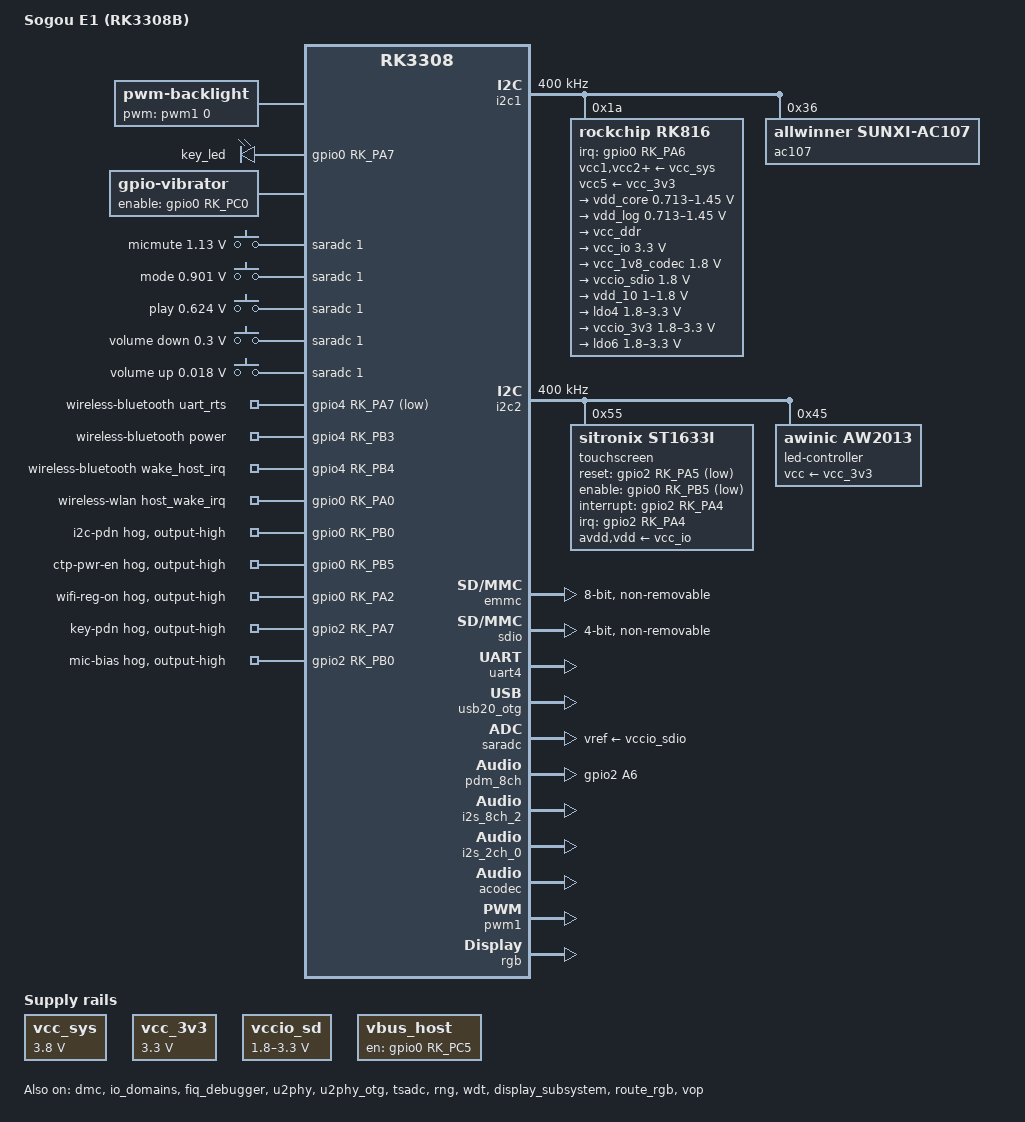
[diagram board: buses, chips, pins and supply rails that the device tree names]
// SPDX-License-Identifier: (GPL-2.0+ OR MIT)

#include <dt-bindings/gpio/gpio.h>
#include <dt-bindings/input/input.h>
#include <dt-bindings/interrupt-controller/irq.h>
#include <dt-bindings/pinctrl/rockchip.h>

#include "rk3308.dtsi"

/ {
	model = "Sogou E1 (RK3308B)";
	compatible = "sogou,e1-rk3308b", "rockchip,rk3308";

	vcc_sys: vcc-sys {
		compatible = "regulator-fixed";
		regulator-name = "vcc_sys";
		regulator-min-microvolt = <3800000>;
		regulator-max-microvolt = <3800000>;
		regulator-always-on;
		regulator-boot-on;
	};

	vcc_3v3: vcc-3v3 {
		compatible = "regulator-fixed";
		regulator-name = "vcc_3v3";
		regulator-min-microvolt = <3300000>;
		regulator-max-microvolt = <3300000>;
		regulator-always-on;
		regulator-boot-on;
	};

	backlight: backlight {
		compatible = "pwm-backlight";
		pwms = <&pwm1 0 25000 0>;
		brightness-levels = <0 16 32 48 64 80 96 112 128 144 160 176 192 208 224 240 255>;
		default-brightness-level = <16>;
		status = "okay";
	};

	vccio_sd: vccio-sd {
		compatible = "regulator-gpio";
		regulator-name = "vccio_sd";
		regulator-min-microvolt = <1800000>;
		regulator-max-microvolt = <3300000>;
		gpios = <&gpio0 RK_PB7 GPIO_ACTIVE_HIGH>;
		states = <1800000 0x0 3300000 0x1>;
	};

	vbus_host: vbus-host-regulator {
		compatible = "regulator-fixed";
		enable-active-high;
		gpio = <&gpio0 RK_PC5 GPIO_ACTIVE_HIGH>;
		pinctrl-names = "default";
		pinctrl-0 = <&usb_drv>;
		regulator-name = "vbus_host";
	};

	leds {
		compatible = "gpio-leds";

		key_led {
			label = "key_led";
			gpios = <&gpio0 RK_PA7 GPIO_ACTIVE_HIGH>;
			default-state = "off";
		};
	};

	vibrator {
		compatible = "gpio-vibrator";
		enable-gpios = <&gpio0 RK_PC0 GPIO_ACTIVE_HIGH>;
	};

	adc-keys {
		compatible = "adc-keys";
		io-channels = <&saradc 1>;
		io-channel-names = "buttons";
		poll-interval = <50>;
		keyup-threshold-microvolt = <1800000>;

		esc-key {
			linux,code = <KEY_MICMUTE>;
			label = "micmute";
			press-threshold-microvolt = <1130000>;
		};

		home-key {
			linux,code = <KEY_MODE>;
			label = "mode";
			press-threshold-microvolt = <901000>;
		};

		menu-key {
			linux,code = <KEY_PLAY>;
			label = "play";
			press-threshold-microvolt = <624000>;
		};

		vol-down-key {
			linux,code = <KEY_VOLUMEDOWN>;
			label = "volume down";
			press-threshold-microvolt = <300000>;
		};

		vol-up-key {
			linux,code = <KEY_VOLUMEUP>;
			label = "volume up";
			press-threshold-microvolt = <18000>;
		};
	};

	dummy_codec: dummy-codec {
		compatible = "rockchip,dummy-codec";
		#sound-dai-cells = <0>;
	};

	dummy_pdm_codec: dummy-pdm-codec {
		compatible = "rockchip,dummy-codec";
		#sound-dai-cells = <0>;
	};

	pdm-mic-array {
		status = "okay";
		compatible = "simple-audio-card";
		simple-audio-card,name = "rockchip,pdm-mic-array";

		simple-audio-card,cpu {
			sound-dai = <&pdm_8ch>;
		};

		simple-audio-card,codec {
			sound-dai = <&dummy_pdm_codec>;
		};
	};

	acodec-sound {
		status = "okay";
		compatible = "rockchip,multicodecs-card";
		rockchip,card-name = "rockchip,rk3308-acodec";
		rockchip,codec-hp-det;
		rockchip,mclk-fs = <256>;
		rockchip,cpu = <&i2s_8ch_2>;
		rockchip,codec = <&acodec>;
	};

	bluetooth-sound {
		status = "okay";
		compatible = "rockchip,multicodecs-card";
		rockchip,card-name = "rockchip,rk3308-pcm";
		rockchip,mclk-fs = <128>;
		rockchip,cpu = <&i2s_2ch_0>;
		rockchip,codec = <&dummy_codec>;
		rockchip,format = "dsp_b";
		rockchip,bitclock-inversion = <0>;
		rockchip,wait-card-locked = <0>;
	};

	wireless-bluetooth {
		compatible = "bluetooth-platdata";
		uart_rts_gpios = <&gpio4 RK_PA7 GPIO_ACTIVE_LOW>;
		pinctrl-names = "default", "rts_gpio";
		pinctrl-0 = <&uart4_rts>;
		pinctrl-1 = <&uart4_rts_pin>;
		BT,power_gpio = <&gpio4 RK_PB3 GPIO_ACTIVE_HIGH>;
		BT,wake_host_irq = <&gpio4 RK_PB4 GPIO_ACTIVE_HIGH>;
		clocks = <&cru SCLK_RTC32K>;
		clock-names = "ext_clock";
		status = "okay";
	};

	wireless-wlan {
		compatible = "wlan-platdata";
		rockchip,grf = <&grf>;
		pinctrl-names = "default";
		pinctrl-0 = <&wifi_wake_host>, <&wifi_enable_h>;
		wifi_chip_type = "rtl8723ds";
		WIFI,host_wake_irq = <&gpio0 RK_PA0 GPIO_ACTIVE_HIGH>;
		status = "okay";
	};
};

&i2c1 {
	status = "okay";
	clock-frequency = <400000>;

	rk816: pmic@1a {
		compatible = "rockchip,rk816";
		reg = <0x1a>;
		interrupt-parent = <&gpio0>;
		interrupts = <RK_PA6 IRQ_TYPE_LEVEL_LOW>;
		pinctrl-names = "default";
		pinctrl-0 = <&pmic_int_l>;
		rockchip,system-power-controller;
		wakeup-source;
		gpio-controller;
		#gpio-cells = <2>;
		#clock-cells = <1>;
		clock-output-names = "rk816-clkout1", "rk816-clkout2";

		extcon = <&u2phy>;
		vcc1-supply = <&vcc_sys>;
		vcc2-supply = <&vcc_sys>;
		vcc3-supply = <&vcc_sys>;
		vcc4-supply = <&vcc_sys>;
		vcc5-supply = <&vcc_3v3>;
		vcc6-supply = <&vcc_sys>;

		pwrkey {
			status = "okay";
		};

		rtc {
			status = "okay";
		};

		battery {
			compatible = "rk816-battery";
			ocv_table = <3547 3606 3646 3679 3701 3714 3725 3741
				     3759 3782 3802 3810 3844 3885 3924 3979
				     4025 4078 4134 4193 4305>;
			design_capacity = <2100>;
			design_qmax = <2310>;
			bat_res = <110>;
			max_input_current = <2000>;
			max_chrg_current = <1800>;
			max_chrg_voltage = <4350>;
			sleep_enter_current = <300>;
			sleep_exit_current = <300>;
			sleep_filter_current = <100>;
			power_off_thresd = <3500>;
			zero_algorithm_vol = <3850>;
			max_soc_offset = <80>;
			monitor_sec = <5>;
			sample_res = <10>;
			virtual_power = <0>;
			power_dc2otg = <0>;
			dc_det_adc = <0>;
		};

		regulators {
			vdd_core: DCDC_REG1 {
				regulator-name = "vdd_core";
				regulator-min-microvolt = <712500>;
				regulator-max-microvolt = <1450000>;
				regulator-ramp-delay = <6001>;
				regulator-initial-mode = <2>;
				regulator-always-on;
				regulator-boot-on;

				regulator-state-mem {
					regulator-off-in-suspend;
				};
			};

			vdd_log: DCDC_REG2 {
				regulator-name = "vdd_logic";
				regulator-min-microvolt = <712500>;
				regulator-max-microvolt = <1450000>;
				regulator-ramp-delay = <6001>;
				regulator-initial-mode = <2>;
				regulator-always-on;
				regulator-boot-on;

				regulator-state-mem {
					regulator-on-in-suspend;
					regulator-suspend-microvolt = <1000000>;
				};
			};

			vcc_ddr: DCDC_REG3 {
				regulator-name = "vcc_ddr";
				regulator-initial-mode = <2>;
				regulator-always-on;
				regulator-boot-on;
			};

			vcc_io: DCDC_REG4 {
				regulator-name = "vcc_io";
				regulator-min-microvolt = <3300000>;
				regulator-max-microvolt = <3300000>;
				regulator-initial-mode = <1>;
				regulator-always-on;
				regulator-boot-on;

				regulator-state-mem {
					regulator-on-in-suspend;
					regulator-suspend-microvolt = <3000000>;
				};
			};

			vcc_1v8_codec: LDO_REG1 {
				regulator-name = "vcc_1v8_codec";
				regulator-min-microvolt = <1800000>;
				regulator-max-microvolt = <1800000>;
				regulator-always-on;
				regulator-boot-on;

				regulator-state-mem {
					regulator-on-in-suspend;
					regulator-suspend-microvolt = <1800000>;
				};
			};

			vccio_sdio: LDO_REG2 {
				regulator-name = "vcc_1v8";
				regulator-min-microvolt = <1800000>;
				regulator-max-microvolt = <1800000>;
				regulator-always-on;
				regulator-boot-on;

				regulator-state-mem {
					regulator-on-in-suspend;
					regulator-suspend-microvolt = <1800000>;
				};
			};

			vdd_10: LDO_REG3 {
				regulator-name = "vdd_10";
				regulator-min-microvolt = <1000000>;
				regulator-max-microvolt = <1800000>;
				regulator-always-on;
				regulator-boot-on;

				regulator-state-mem {
					regulator-off-in-suspend;
				};
			};

			ldo4: LDO_REG4 {
				regulator-name = "ldo4";
				regulator-min-microvolt = <1800000>;
				regulator-max-microvolt = <3300000>;

				regulator-state-mem {
					regulator-off-in-suspend;
				};
			};

			vccio_3v3: LDO_REG5 {
				regulator-name = "vccio_3v3";
				regulator-min-microvolt = <1800000>;
				regulator-max-microvolt = <3300000>;
				regulator-always-on;

				regulator-state-mem {
					regulator-off-in-suspend;
				};
			};

			ldo6: LDO_REG6 {
				regulator-name = "ldo6";
				regulator-min-microvolt = <1800000>;
				regulator-max-microvolt = <3300000>;

				regulator-state-mem {
					regulator-off-in-suspend;
				};
			};
		};
	};

	ac107: ac107@36 {
		compatible = "allwinner,sunxi-ac107";
		reg = <0x36>;
		#sound-dai-cells = <0>;
		ch1-pga-gain = <26>;
		ch2-pga-gain = <26>;
		status = "okay";
	};
};

&i2c2 {
	status = "okay";
	clock-frequency = <400000>;

	touchscreen@55 {
		compatible = "sitronix,st1633i", "sitronix,st1633";
		reg = <0x55>;

		interrupt-parent = <&gpio2>;
		interrupts = <RK_PA4 IRQ_TYPE_EDGE_FALLING>;

		pinctrl-names = "default", "enable", "disable";
		pinctrl-0 = <&ctp_irq>;
		pinctrl-1 = <&ctp_power_enable>;
		pinctrl-2 = <&ctp_power_disable>;

		avdd-supply = <&vcc_io>;
		vdd-supply = <&vcc_io>;

		reset-gpios = <&gpio2 RK_PA5 GPIO_ACTIVE_LOW>;
		touchscreen-size-x = <320>;
		touchscreen-size-y = <320>;

		sitronix,enable-gpio = <&gpio0 RK_PB5 GPIO_ACTIVE_LOW>;
		sitronix,reset-gpio = <&gpio2 RK_PA5 GPIO_ACTIVE_LOW>;
		sitronix,interrupt-gpios = <&gpio2 RK_PA4 IRQ_TYPE_EDGE_FALLING>;
		sitronix,num-fingers = <2>;
		sitronix,wakeup;
		sitronix,palm-detect-en;
		sitronix,palm-detect-keycode = <0x8e>;
		sitronix,panel-coords = <0 0 320 320>;
		sitronix,display-coords = <0 0 320 320>;
		sitronix,product-id = "1633";
		sitronix,enable-power-off;
		sitronix,cfg-data0;
		sitronix,driver-send-cfg;

		wakeup-source;
		status = "okay";
	};

	led-controller@45 {
		compatible = "awinic,aw2013";
		reg = <0x45>;
		#address-cells = <1>;
		#size-cells = <0>;
		vcc-supply = <&vcc_3v3>;
		status = "okay";

		led@0 {
			reg = <0>;
			label = "red";
			led-max-microamp = <15000>;
		};

		led@1 {
			reg = <1>;
			label = "green";
			led-max-microamp = <15000>;
		};

		led@2 {
			reg = <2>;
			label = "blue";
			led-max-microamp = <15000>;
		};
	};
};

&cpu0 {
	cpu-supply = <&vdd_core>;
};

&cpu0_opp_table {
	opp-1200000000 {
		status = "okay";
	};

	opp-1296000000 {
		status = "okay";
	};
};

&rk3308bs_cpu0_opp_table {
	opp-1008000000 {
		status = "okay";
	};

	opp-1104000000 {
		status = "okay";
	};
};

&dmc {
	center-supply = <&vdd_log>;
	status = "okay";
};

&io_domains {
	status = "okay";

	vccio0-supply = <&vcc_io>;
	vccio1-supply = <&vcc_io>;
	vccio2-supply = <&vcc_io>;
	vccio3-supply = <&vccio_sdio>;
	vccio4-supply = <&vccio_sdio>;
	vccio5-supply = <&vccio_sd>;
};

&emmc {
	bus-width = <8>;
	cap-mmc-highspeed;
	mmc-hs200-1_8v;
	no-sdio;
	no-sd;
	disable-wp;
	non-removable;
	num-slots = <1>;
	vqmmc-supply = <&vccio_sdio>;
	pinctrl-names = "default";
	pinctrl-0 = <&emmc_bus8 &emmc_clk &emmc_cmd>;
	status = "okay";
};

&sdio {

	max-frequency = <50000000>;
	bus-width = <4>;
	cap-sd-highspeed;
	cap-sdio-irq;
	supports-sdio;
	ignore-pm-notify;
	non-removable;
	keep-power-in-suspend;
	sd-uhs-sdr104;
	status = "okay";
};

&uart4 {
	pinctrl-names = "default";
	pinctrl-0 = <&uart4_xfer &uart4_cts>;
	status = "okay";
};

&fiq_debugger {
	status = "okay";
};

&u2phy {
	status = "okay";
};

&u2phy_host {
	phy-supply = <&vbus_host>;
	status = "disabled";
};

&u2phy_otg {
	status = "okay";
};

&usb20_otg {
	status = "okay";
};

&usb_host0_ehci {
	status = "disabled";
};

&usb_host0_ohci {
	status = "disabled";
};

&saradc {
	status = "okay";
	vref-supply = <&vccio_sdio>;
};

&pdm_8ch {
	status = "okay";
	#sound-dai-cells = <0>;
	pinctrl-names = "default";
	pinctrl-0 = <&pdm_m2_clk_8ma &pdm_m2_sdi0 &pdm_m2_sdi1
		     &pdm_m2_sdi2 &pdm_m2_sdi3>;
};

&i2s_8ch_2 {
	status = "okay";
	#sound-dai-cells = <0>;
};

&i2s_2ch_0 {
	status = "okay";
	#sound-dai-cells = <0>;
};

&acodec {
	status = "okay";

	rockchip,loopback-grp = <0>;
	rockchip,hp-jack-reversed;
	hp-ctl-gpios = <&gpio0 RK_PA1 GPIO_ACTIVE_HIGH>;
	spk-ctl-gpios = <&gpio0 RK_PA5 GPIO_ACTIVE_HIGH>;
};

&vad {
	status = "disabled";
	rockchip,audio-src = <&pdm_8ch>;
	rockchip,det-channel = <0>;
	rockchip,mode = <1>;
	rockchip,buffer-time-ms = <200>;
	#sound-dai-cells = <0>;
};

&tsadc {
	rockchip,hw-tshut-mode = <0>;
	rockchip,hw-tshut-polarity = <1>;
	status = "okay";
};

&rng {
	status = "okay";
};

&wdt {
	status = "okay";
};

&pinctrl {
	pmic {
		pmic_int_l: pmic-int-l {
			rockchip,pins = <0 RK_PA6 RK_FUNC_GPIO &pcfg_pull_up>;
		};
	};

	wireless-wlan {
		wifi_wake_host: wifi-wake-host {
			rockchip,pins = <0 RK_PA0 RK_FUNC_GPIO &pcfg_pull_up>;
		};
	};

	sdio-pwrseq {
		wifi_enable_h: wifi-enable-h {
			rockchip,pins = <0 RK_PA2 RK_FUNC_GPIO &pcfg_pull_none>;
		};
	};

	usb {
		usb_drv: usb-drv {
			rockchip,pins = <0 RK_PC5 RK_FUNC_GPIO &pcfg_pull_none>;
		};
	};

	pdm_m2 {
		pdm_m2_clk_8ma: pdm-m2-clk-8ma {
			rockchip,pins = <2 RK_PA6 2 &pcfg_pull_none_8ma>;
		};
	};

	ctp {
		ctp_power_enable: ctp-power-enable {
			rockchip,pins = <0 RK_PB5 RK_FUNC_GPIO &pcfg_pull_up_8ma>;
		};

		ctp_power_disable: ctp-power-disable {
			rockchip,pins = <0 RK_PB5 RK_FUNC_GPIO &pcfg_pull_down_4ma>;
		};

		ctp_irq: ctp-irq {
			rockchip,pins = <2 RK_PA4 RK_FUNC_GPIO &pcfg_pull_up>;
		};
	};
};

&pwm1 {
	status = "okay";
};

&display_subsystem {
	status = "okay";
};

&route_rgb {
	status = "okay";
};

&vop {
	status = "okay";

	mcu-timing {
		mcu-pix-total = <9>;
		mcu-cs-pst = <1>;
		mcu-cs-pend = <8>;
		mcu-rw-pst = <2>;
		mcu-rw-pend = <5>;
		mcu-hold-mode = <1>;
	};
};

&rgb {
	status = "okay";

	mcu-panel {
		bus-format = <MEDIA_BUS_FMT_RGB888_3X8>;
		backlight = <&backlight>;
		bpc = <8>;
		width-mm = <32>;
		height-mm = <34>;

		enable-delay-ms = <100>;
		reset-delay-ms = <10>;
		prepare-delay-ms = <5>;
		init-delay-ms = <10>;
		unprepare-delay-ms = <5>;
		disable-delay-ms = <20>;

		reset-gpios = <&gpio0 RK_PC4 GPIO_ACTIVE_LOW>;

		panel-init-sequence = [
			00 01 01 11
			00 00 01 f0
			01 00 01 c3
			00 00 01 f0
			01 00 01 96
			00 00 01 2a
			01 00 01 00
			01 00 01 00
			01 00 01 01
			01 00 01 3f
			00 00 01 2b
			01 00 01 00
			01 00 01 00
			01 00 01 01
			01 00 01 3f
			00 00 01 b6
			01 00 01 8a
			01 00 01 07
			01 00 01 3b
			00 00 01 b5
			01 00 01 20
			01 00 01 20
			01 00 01 00
			01 00 01 20
			00 00 01 b1
			01 00 01 a0
			01 00 01 09
			00 00 01 36
			01 00 01 40
			00 00 01 b4
			01 00 01 00
			00 00 01 c1
			01 00 01 00
			00 00 01 c5
			01 00 01 2e
			00 00 01 21
			00 00 01 e4
			01 00 01 31
			00 00 01 e8
			01 00 01 40
			01 00 01 84
			01 00 01 1b
			01 00 01 1b
			01 00 01 10
			01 00 01 03
			01 00 01 b8
			01 00 01 33
			00 00 01 e0
			01 00 01 f0
			01 00 01 07
			01 00 01 0c
			01 00 01 0a
			01 00 01 08
			01 00 01 25
			01 00 01 37
			01 00 01 54
			01 00 01 50
			01 00 01 38
			01 00 01 14
			01 00 01 12
			01 00 01 2f
			01 00 01 3f
			00 00 01 e1
			01 00 01 f0
			01 00 01 07
			01 00 01 0c
			01 00 01 0b
			01 00 01 09
			01 00 01 25
			01 00 01 36
			01 00 01 43
			01 00 01 4e
			01 00 01 08
			01 00 01 12
			01 00 01 16
			01 00 01 2f
			01 00 01 3f
			00 00 01 f0
			01 00 01 3c
			00 00 01 f0
			01 00 01 69
			00 00 01 3a
			01 00 01 06
			00 10 01 29
			00 00 01 2c
		];

		panel-exit-sequence = [
			00 0a 01 28
			00 78 01 10
		];

		display-timings {
			native-mode = <&sogou_e1_timing>;

			sogou_e1_timing: timing0 {

				clock-frequency = <7079400>;
				hactive = <320>;
				vactive = <320>;
				hback-porch = <10>;
				hfront-porch = <5>;
				vback-porch = <10>;
				vfront-porch = <5>;
				hsync-len = <10>;
				vsync-len = <7>;
				hsync-active = <0>;
				vsync-active = <0>;
				de-active = <0>;
				pixelclk-active = <0>;
			};
		};
	};
};

&{/reserved-memory} {
	cma: cma {
		compatible = "shared-dma-pool";
		reusable;
		size = <0x0 0x800000>;
		linux,cma-default;
	};
};

&gpio0 {
	i2c_pdn: i2c-pdn {
		gpio-hog;
		gpios = <RK_PB0 GPIO_ACTIVE_HIGH>;
		output-high;
		line-name = "i2c-pdn";
	};

	ctp_pwr_en: ctp-pwr-en {
		gpio-hog;
		gpios = <RK_PB5 GPIO_ACTIVE_HIGH>;
		output-high;
		line-name = "ctp-pwr-en";
	};
};

&gpio2 {
	key_pdn: key-pdn {
		gpio-hog;
		gpios = <RK_PA7 GPIO_ACTIVE_HIGH>;
		output-high;
		line-name = "key-pdn";
	};

	mic_bias: mic-bias {
		gpio-hog;
		gpios = <RK_PB0 GPIO_ACTIVE_HIGH>;
		output-high;
		line-name = "mic-bias";
	};
};

&gpio0 {
	wifi_reg_on: wifi-reg-on {
		gpio-hog;
		gpios = <RK_PA2 GPIO_ACTIVE_HIGH>;
		output-high;
		line-name = "wifi-reg-on";
	};
};
